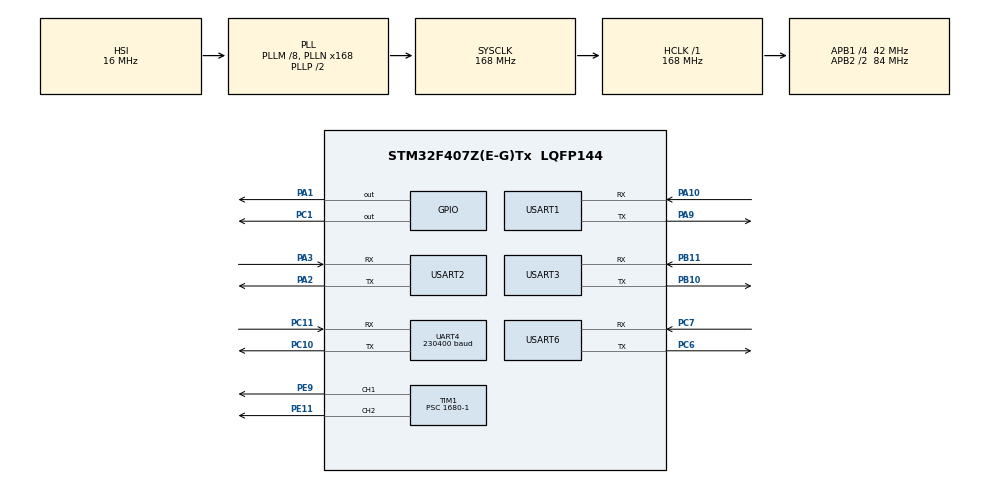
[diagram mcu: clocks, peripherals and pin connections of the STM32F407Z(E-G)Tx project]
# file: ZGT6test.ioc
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Mcu.Family=STM32F4
Mcu.Name=STM32F407Z(E-G)Tx
Mcu.Package=LQFP144
NVIC.PriorityGroup=NVIC_PRIORITYGROUP_4
NVIC.UART4_IRQn=true\:0\:0\:false\:false\:true\:true\:true\:true
NVIC.USART1_IRQn=true\:0\:0\:false\:false\:true\:true\:true\:true
NVIC.USART2_IRQn=true\:0\:0\:false\:false\:true\:true\:true\:true
NVIC.USART3_IRQn=true\:0\:0\:false\:false\:true\:true\:true\:true
NVIC.USART6_IRQn=true\:0\:0\:false\:false\:true\:true\:true\:true
PA1.Signal=GPIO_Output
PA10.Mode=Asynchronous
PA10.Signal=USART1_RX
PA13.Mode=Serial_Wire
PA13.Signal=SYS_JTMS-SWDIO
PA14.Mode=Serial_Wire
PA14.Signal=SYS_JTCK-SWCLK
PA2.Mode=Asynchronous
PA2.Signal=USART2_TX
PA3.Mode=Asynchronous
PA3.Signal=USART2_RX
PA9.Mode=Asynchronous
PA9.Signal=USART1_TX
PB10.Mode=Asynchronous
PB10.Signal=USART3_TX
PB11.Mode=Asynchronous
PB11.Signal=USART3_RX
PC1.Signal=GPIO_Output
PC10.Mode=Asynchronous
PC10.Signal=UART4_TX
PC11.Mode=Asynchronous
PC11.Signal=UART4_RX
PC6.Mode=Asynchronous
PC6.Signal=USART6_TX
PC7.Mode=Asynchronous
PC7.Signal=USART6_RX
PE11.Signal=S_TIM1_CH2
PE9.Signal=S_TIM1_CH1
PH0-OSC_IN.Mode=HSE-External-Oscillator
PH0-OSC_IN.Signal=RCC_OSC_IN
PH1-OSC_OUT.Mode=HSE-External-Oscillator
PH1-OSC_OUT.Signal=RCC_OSC_OUT
ProjectManager.HeapSize=0x200
ProjectManager.StackSize=0x400
ProjectManager.TargetToolchain=MDK-ARM V5.32
RCC.48MHZClocksFreq_Value=84000000
RCC.AHBFreq_Value=168000000
RCC.APB1CLKDivider=RCC_HCLK_DIV4
RCC.APB1Freq_Value=42000000
RCC.APB1TimFreq_Value=84000000
RCC.APB2CLKDivider=RCC_HCLK_DIV2
RCC.APB2Freq_Value=84000000
RCC.APB2TimFreq_Value=168000000
RCC.CortexFreq_Value=168000000
RCC.HCLKFreq_Value=168000000
RCC.HSE_VALUE=25000000
RCC.HSI_VALUE=16000000
RCC.LSE_VALUE=32768
RCC.PLLM=8
RCC.PLLN=168
RCC.SYSCLKFreq_VALUE=168000000
RCC.SYSCLKSource=RCC_SYSCLKSOURCE_PLLCLK
RCC.VCOOutputFreq_Value=336000000
SH.S_TIM1_CH1.0=TIM1_CH1,PWM Generation1 CH1
SH.S_TIM1_CH2.0=TIM1_CH2,PWM Generation2 CH2
TIM1.Channel-PWM\ Generation1\ CH1=TIM_CHANNEL_1
TIM1.Channel-PWM\ Generation2\ CH2=TIM_CHANNEL_2
TIM1.Prescaler=1680-1
UART4.BaudRate=230400
UART4.VirtualMode=Asynchronous
USART1.VirtualMode=VM_ASYNC
USART2.VirtualMode=VM_ASYNC
USART3.VirtualMode=VM_ASYNC
USART6.VirtualMode=VM_ASYNC
board=custom

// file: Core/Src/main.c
/* USER CODE BEGIN Header */
/**
  ******************************************************************************
  * @file           : main.c
  * @brief          : Main program body
  ******************************************************************************
  * @attention
  *
  * Copyright (c) 2025 STMicroelectronics.
  * All rights reserved.
  *
  * This software is licensed under terms that can be found in the LICENSE file
  * in the root directory of this software component.
  * If no LICENSE file comes with this software, it is provided AS-IS.
  *
  ******************************************************************************
  */
/* USER CODE END Header */
#include "main.h"
#include "tim.h"
#include "usart.h"
#include "gpio.h"

/* USER CODE BEGIN Includes */
#include "bsp_uart.h"
#include "bsp_pwm.h"
#include "stp23.h"
#include <stdio.h>
volatile int led_flag = 0;
/* USER CODE END Includes */

/* USER CODE BEGIN PTD */
void esp_ap_init()
{

	//usart1: ESP8266                  TX:A9  RX:A10
	//usart2: Drone                    TX:A2  RX:A3
	//usart3: OPENMV                   TX:B10 RX:B11
	//uart4:  STP_23 Laser             TX:C10 RX:C11
	//usart6: Raspberry Pi or Laser    TX:C6  RX:C7

	//HAL_GPIO_WritePin(GPIOA, GPIO_PIN_1, GPIO_PIN_SET);
	__HAL_UART_ENABLE_IT(&huart1, UART_IT_RXNE);  //receive interrupt6
	__HAL_UART_ENABLE_IT(&huart1, UART_IT_IDLE);  //idle interrupt
	__HAL_UART_ENABLE_IT(&huart2, UART_IT_RXNE);  //receive interrupt
	__HAL_UART_ENABLE_IT(&huart2, UART_IT_IDLE);  //idle interrupt
	__HAL_UART_ENABLE_IT(&huart3, UART_IT_RXNE);  //receive interrupt
	__HAL_UART_ENABLE_IT(&huart3, UART_IT_IDLE);  //idle interrupt
//	__HAL_UART_ENABLE_IT(&huart4, UART_IT_RXNE);  //receive interrupt
//	__HAL_UART_ENABLE_IT(&huart4, UART_IT_IDLE);  //idle interrupt
	__HAL_UART_ENABLE_IT(&huart6, UART_IT_RXNE);  //receive interrupt
	__HAL_UART_ENABLE_IT(&huart6, UART_IT_IDLE);  //idle interrupt
	uint8_t at1[] = "AT+CWMODE=1\r\n";
	uint8_t at2[] = "AT+RST\r\n";
	uint8_t at3[] = "AT+CWJAP=\"esp8266\",\"66666666\"\r\n";
	uint8_t at4[] = "AT+CIPMUX=0\r\n";
	uint8_t at5[] = "AT+CIPMODE=1\r\n";
	uint8_t at6[] = "AT+CIPSTART=\"TCP\",\"192.168.4.1\",8086\r\n";
	uint8_t at7[] = "AT+CIPSEND\r\n";
	//uint8_t at8[] = "okok\r\n";
	HAL_UART_Transmit(&huart1,at1,sizeof(at1),100);
	HAL_Delay(1000);
	HAL_UART_Transmit(&huart1,at2,sizeof(at2),100);
	HAL_Delay(1000);
	HAL_UART_Transmit(&huart1,at3,sizeof(at3),100);
	HAL_Delay(1000);
	HAL_UART_Transmit(&huart1,at4,sizeof(at4),100);
	HAL_Delay(3000);
	HAL_UART_Transmit(&huart1,at5,sizeof(at5),100);
	HAL_Delay(5000);
	HAL_UART_Transmit(&huart1,at6,sizeof(at6),100);
	HAL_Delay(1000);
	HAL_UART_Transmit(&huart1,at7,sizeof(at7),100);
//	HAL_Delay(3000);
//	HAL_GPIO_WritePin(GPIOA, GPIO_PIN_1, GPIO_PIN_RESET);
}
int fputc(int ch, FILE *f)
{

  HAL_UART_Transmit(&huart2, (uint8_t *)&ch, 1, 0xffff);

  return ch;

}
/* USER CODE END PTD */

void SystemClock_Config(void);

int main(void)
{

  /* MCU Configuration--------------------------------------------------------*/

  /* Reset of all peripherals, Initializes the Flash interface and the Systick. */
  HAL_Init();

  /* Configure the system clock */
  SystemClock_Config();

  /* Initialize all configured peripherals */
  MX_GPIO_Init();
  MX_USART1_UART_Init();
  MX_USART2_UART_Init();
  MX_USART3_UART_Init();
  MX_USART6_UART_Init();
  MX_UART4_Init();
  MX_TIM1_Init();
  /* USER CODE BEGIN 2 */
//	pwm_on();
//	pwm_pitch();
	esp_ap_init();
  /* USER CODE END 2 */

  /* Infinite loop */
  while (1)
  {

    /* USER CODE BEGIN 3 */
		if(HAL_GPIO_ReadPin(GPIOA,GPIO_PIN_1) == GPIO_PIN_SET)
		{
			HAL_Delay(1000);
			HAL_GPIO_WritePin(GPIOA,GPIO_PIN_1,GPIO_PIN_RESET);
		}
    //HAL_Delay(100);
    //send_height(distance);
		//printf("distance: %d \n", distance);
  }
  /* USER CODE END 3 */
}

void SystemClock_Config(void)
{
  RCC_OscInitTypeDef RCC_OscInitStruct = {0};
  RCC_ClkInitTypeDef RCC_ClkInitStruct = {0};

  /** Configure the main internal regulator output voltage
  */
  __HAL_RCC_PWR_CLK_ENABLE();
  __HAL_PWR_VOLTAGESCALING_CONFIG(PWR_REGULATOR_VOLTAGE_SCALE1);

  /** Initializes the RCC Oscillators according to the specified parameters
  * in the RCC_OscInitTypeDef structure.
  */
  RCC_OscInitStruct.OscillatorType = RCC_OSCILLATORTYPE_HSI;
  RCC_OscInitStruct.HSIState = RCC_HSI_ON;
  RCC_OscInitStruct.HSICalibrationValue = RCC_HSICALIBRATION_DEFAULT;
  RCC_OscInitStruct.PLL.PLLState = RCC_PLL_ON;
  RCC_OscInitStruct.PLL.PLLSource = RCC_PLLSOURCE_HSI;
  RCC_OscInitStruct.PLL.PLLM = 8;
  RCC_OscInitStruct.PLL.PLLN = 168;
  RCC_OscInitStruct.PLL.PLLP = RCC_PLLP_DIV2;
  RCC_OscInitStruct.PLL.PLLQ = 4;
  if (HAL_RCC_OscConfig(&RCC_OscInitStruct) != HAL_OK)
  {
    Error_Handler();
  }

  /** Initializes the CPU, AHB and APB buses clocks
  */
  RCC_ClkInitStruct.ClockType = RCC_CLOCKTYPE_HCLK|RCC_CLOCKTYPE_SYSCLK
                              |RCC_CLOCKTYPE_PCLK1|RCC_CLOCKTYPE_PCLK2;
  RCC_ClkInitStruct.SYSCLKSource = RCC_SYSCLKSOURCE_PLLCLK;
  RCC_ClkInitStruct.AHBCLKDivider = RCC_SYSCLK_DIV1;
  RCC_ClkInitStruct.APB1CLKDivider = RCC_HCLK_DIV4;
  RCC_ClkInitStruct.APB2CLKDivider = RCC_HCLK_DIV2;

  if (HAL_RCC_ClockConfig(&RCC_ClkInitStruct, FLASH_LATENCY_5) != HAL_OK)
  {
    Error_Handler();
  }
}

void Error_Handler(void)
{
  __disable_irq();
  while (1)
  {
  }
}
